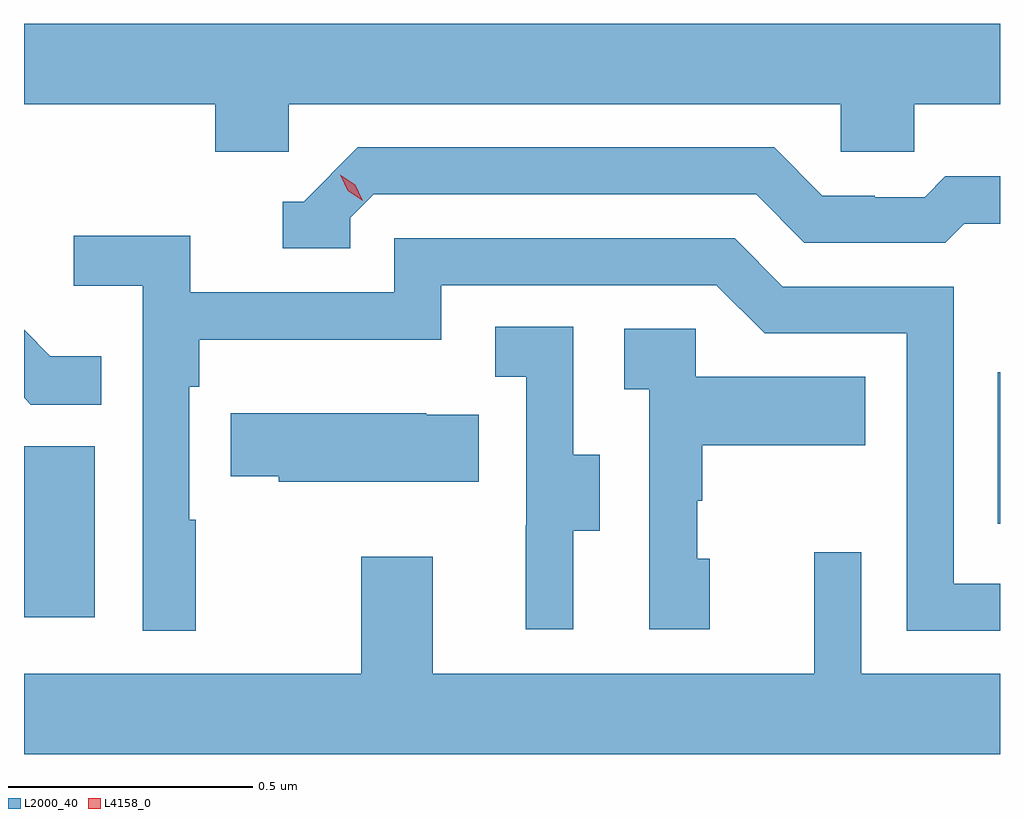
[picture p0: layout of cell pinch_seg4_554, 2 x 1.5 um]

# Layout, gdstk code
import gdstk
lib = gdstk.Library(unit=1e-6, precision=1e-09)
def R(c, l, rs):  # rectangles x0, y0, x1, y1
    for r in rs: c.add(gdstk.rectangle(r[:2], r[2:], *l))
def P(c, l, *ps):  # polygons
    for p in ps: c.add(gdstk.Polygon(p, *l))
L2000_40 = (2000, 40)
L4158_0 = (4158, 0)

pinch_seg4_554 = lib.new_cell('pinch_seg4_554')
R(pinch_seg4_554, L2000_40, [(1142.379,777.12,1142.524,777.471), (1144.374,777.312,1144.379,777.622)])
P(pinch_seg4_554, L2000_40, [(1142.922,778.172),(1144.053,778.172),(1144.053,778.074),(1144.203,778.074),(1144.203,778.172),(1144.379,778.172),(1144.379,778.336),(1142.379,778.336),(1142.379,778.172),(1142.771,778.172),(1142.771,778.074),(1142.922,778.074)],
  [(1143.048,777.939),(1143.096,777.987),(1143.879,777.987),(1143.978,777.888),(1144.267,777.888),(1144.306,777.927),(1144.379,777.927),(1144.379,778.024),(1144.267,778.024),(1144.225,777.981),(1144.122,777.981),(1144.122,777.984),(1144.015,777.984),(1143.916,778.083),(1143.063,778.083),(1142.952,777.972),(1142.909,777.972),(1142.909,777.876),(1143.048,777.876)],
  [(1142.731,777.32),(1142.718,777.32),(1142.718,777.593),(1142.738,777.593),(1142.738,777.689),(1143.234,777.689),(1143.234,777.801),(1143.798,777.801),(1143.897,777.702),(1144.188,777.702),(1144.188,777.093),(1144.379,777.093),(1144.379,777.189),(1144.284,777.189),(1144.284,777.798),(1143.934,777.798),(1143.835,777.897),(1143.138,777.897),(1143.138,777.786),(1142.72,777.786),(1142.72,777.902),(1142.481,777.902),(1142.481,777.8),(1142.622,777.8),(1142.622,777.093),(1142.731,777.093)],
  [(1143.505,777.298),(1143.559,777.298),(1143.559,777.453),(1143.504,777.453),(1143.504,777.716),(1143.345,777.716),(1143.345,777.613),(1143.408,777.613),(1143.408,777.309),(1143.407,777.309),(1143.407,777.096),(1143.505,777.096)],
  [(1143.784,777.24),(1143.759,777.24),(1143.759,777.359),(1143.769,777.359),(1143.769,777.473),(1144.103,777.473),(1144.103,777.613),(1143.756,777.613),(1143.756,777.711),(1143.609,777.711),(1143.609,777.587),(1143.66,777.587),(1143.66,777.096),(1143.784,777.096)],
  [(1142.537,777.655),(1142.433,777.655),(1142.379,777.709),(1142.379,777.57),(1142.393,777.556),(1142.537,777.556)],
  [(1143.311,777.535),(1143.203,777.535),(1143.203,777.538),(1142.803,777.538),(1142.803,777.409),(1142.901,777.409),(1142.901,777.398),(1143.311,777.398)],
  [(1144.379,777.004),(1144.095,777.004),(1144.095,777.253),(1143.998,777.253),(1143.998,777.004),(1143.217,777.004),(1143.217,777.244),(1143.07,777.244),(1143.07,777.004),(1142.379,777.004),(1142.379,776.84),(1144.379,776.84)])
P(pinch_seg4_554, L4158_0, [(1143.073,777.974),(1143.042,777.994),(1143.027,778.027),(1143.027,778.027),(1143.027,778.027),(1143.058,778.007),(1143.073,777.974),(1143.073,777.974)])

lib.write_gds('pinch_seg4_554.gds')
